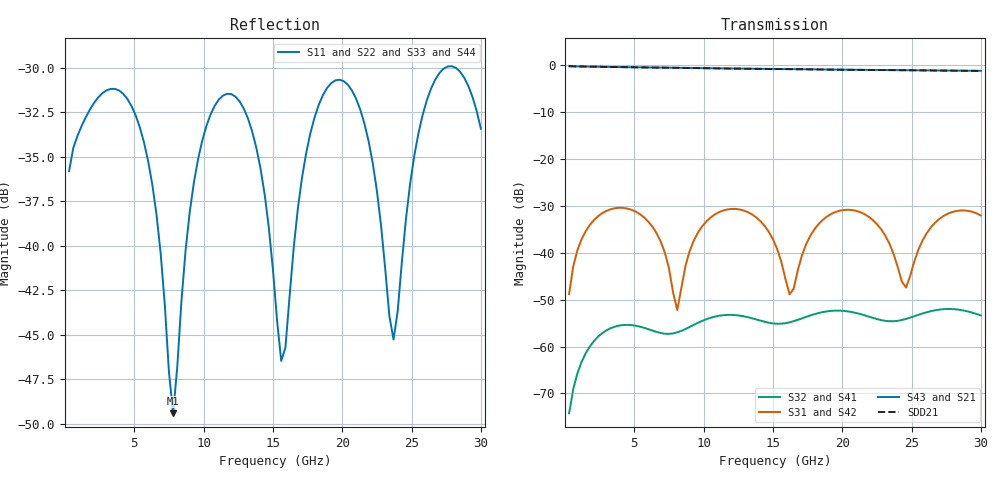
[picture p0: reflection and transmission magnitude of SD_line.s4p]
! Created Tue Apr 13 09:52:22 2021
# hz S ri R 50
! 4 Port Network Data from SP1.SP block
! freq  reS11  imS11  reS12  imS12  reS13  imS13  reS14  imS14
!  reS21  imS21  reS22  imS22  reS23  imS23  reS24  imS24
!  reS31  imS31  reS32  imS32  reS33  imS33  reS34  imS34
!  reS41  imS41  reS42  imS42  reS43  imS43  reS44  imS44
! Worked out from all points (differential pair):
!   100 points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, 300 MHz to 30 GHz, reference 50 ohm
!   strongest paths, dB at 300 MHz, 7.8 GHz, 15.3 GHz, 22.8 GHz, 30 GHz:
!     S43: -0.1, -0.5, -0.7, -1.0, -1.1
!     S21: -0.1, -0.5, -0.7, -1.0, -1.1
!     S31: -48.8, -48.4, -39.1, -34.9, -32.0
!     S42: -48.8, -48.4, -39.1, -34.9, -32.0
!     S32: -74.3, -57.2, -55.1, -54.4, -53.4
!     S41: -74.3, -57.2, -55.1, -54.4, -53.4
!   taken as a pair (ports 3,1 in; 4,2 out), SDD21 dB: -0.1, -0.5, -0.8, -1.0, -1.2
!   lowest |S11| = -49.4 dB at 7.8 GHz (marker M1), VSWR 1.01, Z = 49.7 - j0.207 ohm
!   |S11| at or under -10 dB: start of sweep to end of sweep
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3e8  0.0161 0.00142  0.9761 -0.1214  0.000464 0.0036  7.36e-05 0.000179
     0.9761 -0.1214  0.0161 0.00142  7.36e-05 0.000179  0.000464 0.0036
     0.000464 0.0036  7.36e-05 0.000179  0.0161 0.00142  0.9761 -0.1214
     7.36e-05 0.000179  0.000464 0.0036  0.9761 -0.1214  0.0161 0.00142
3.9e9  -0.0182 -0.0204  0.049 -0.9614  0.0302 0.00216  0.00104 -0.00131
       0.049 -0.9614  -0.0182 -0.0204  0.00104 -0.00131  0.0302 0.00216
       0.0302 0.00216  0.00104 -0.00131  -0.0182 -0.0204  0.049 -0.9614
       0.00104 -0.00131  0.0302 0.00216  0.049 -0.9614  -0.0182 -0.0204
7.8e9  -0.00266 -0.00208  -0.9394 -0.114  0.00249 -0.00285  -0.00107 -0.000871
       -0.9394 -0.114  -0.00267 -0.00208  -0.00107 -0.000871  0.00249 -0.00285
       0.00249 -0.00285  -0.00107 -0.000871  -0.00266 -0.00208  -0.9394 -0.114
       -0.00107 -0.000871  0.00249 -0.00285  -0.9394 -0.114  -0.00267 -0.00208
1.59e10  -0.00312 -0.00412  0.9039 0.1498  0.00398 -0.00349  0.00139 0.00111
         0.9039 0.1498  -0.00312 -0.00412  0.00139 0.00111  0.00398 -0.00349
         0.00398 -0.00349  0.00139 0.00111  -0.00312 -0.00412  0.9039 0.1498
         0.00139 0.00111  0.00398 -0.00349  0.9039 0.1498  -0.00312 -0.00412
2.01e10  -0.0265 -0.0118  0.1221 -0.8945  0.0284 0.00394  0.00112 -0.00212
         0.1221 -0.8945  -0.0265 -0.0118  0.00112 -0.00212  0.0284 0.00394
         0.0284 0.00394  0.00112 -0.00212  -0.0265 -0.0118  0.1221 -0.8945
         0.00112 -0.00212  0.0284 0.00394  0.1221 -0.8945  -0.0265 -0.0118
2.43e10  -0.00264 -0.0086  -0.8866 -0.1002  0.0045 -0.00202  -0.00163 -0.00101
         -0.8866 -0.1002  -0.00265 -0.00861  -0.00163 -0.00101  0.0045 -0.00202
         0.0045 -0.00202  -0.00163 -0.00101  -0.00264 -0.0086  -0.8866 -0.1002
         -0.00163 -0.00101  0.0045 -0.00202  -0.8866 -0.1002  -0.00265 -0.00861
3e10  -0.0212 0.0019  0.4007 0.781  0.0233 -0.00902  0.000785 0.002
      0.4007 0.781  -0.0213 0.00185  0.000785 0.002  0.0233 -0.00902
      0.0233 -0.00902  0.000785 0.002  -0.0212 0.0019  0.4007 0.781
      0.000785 0.002  0.0233 -0.00902  0.4007 0.781  -0.0213 0.00185
